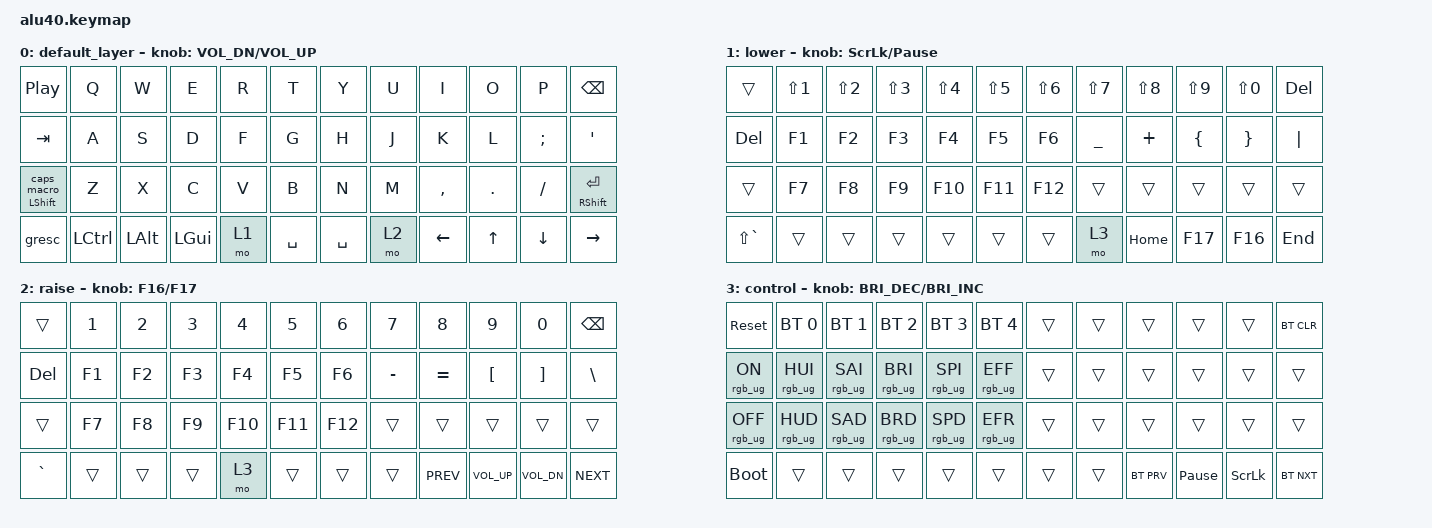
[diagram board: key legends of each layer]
/*
 * Copyright (c) 2022 The ZMK Contributors
 *
 * SPDX-License-Identifier: MIT
 */

#include <behaviors.dtsi>
#include <dt-bindings/zmk/keys.h>
#include <dt-bindings/zmk/bt.h>
#include <dt-bindings/zmk/rgb.h>

/ {

    caps_macro: caps_macro {
        compatible = "zmk,behavior-macro";
        label = "caps_macro";
        #binding-cells = <0>;
        wait-ms = <30>;
        tap-ms = <200>;
        bindings = <&kp CAPS>;
    };

    behaviors {
        sc: shift_caps {
            compatible = "zmk,behavior-hold-tap";
            label = "shift_caps";
            #binding-cells = <2>;
            tapping-term-ms = <200>;
            quick-tap-ms = <0>;
            flavor = "tap-preferred";
            bindings = <&kp>, <&caps_macro>;
        };
    };

    keymap {
        compatible = "zmk,keymap";

        default_layer {
            // -----------------------------------------------------------------------------------------
            // | PLAY  |  Q   |  W   |  E   |  R   |  T   |   Y   |  U    |  I   |  O   |   P   | BSPC  |
            // | TAB   |  A   |  S   |  D   |  F   |  G   |   H   |  J    |  K   |  L   |   ;   |  '    |
            // | SHIFT |  Z   |  X   |  C   |  V   |  B   |   N   |  M    |  ,   |  .   |   /   |RET/SFT|
            // | ESC/~ | LCTL | LALT | LGUI | LOWR |     SPACE    |  RAIS | LARW | UARW | DARW  |  RARW |

            bindings = <
                &kp C_PP    &kp Q      &kp W     &kp E     &kp R  &kp T      &kp Y      &kp U  &kp I      &kp O    &kp P     &kp BSPC
                &kp TAB     &kp A      &kp S     &kp D     &kp F  &kp G      &kp H      &kp J  &kp K      &kp L    &kp SEMI  &kp SQT
                &sc LSHFT 0 &kp Z      &kp X     &kp C     &kp V  &kp B      &kp N      &kp M  &kp COMMA  &kp DOT  &kp FSLH  &mt RSHFT RET
                &gresc      &kp LCTRL  &kp LALT  &kp LGUI  &mo 1  &kp SPACE  &kp SPACE  &mo 2  &kp LEFT   &kp UP   &kp DOWN  &kp RIGHT
            >;

            sensor-bindings = <&inc_dec_kp C_VOL_DN C_VOL_UP>;
        };

        lower {
            bindings = <
                &trans         &kp LS(N1)  &kp LS(N2)  &kp LS(N3)  &kp LS(N4)  &kp LS(N5)  &kp LS(N6)  &kp LS(N7)  &kp LS(N8)  &kp LS(N9)  &kp LS(N0)  &kp DEL
                &kp DEL        &kp F1      &kp F2      &kp F3      &kp F4      &kp F5      &kp F6      &kp UNDER   &kp PLUS    &kp LBRC    &kp RBRC    &kp PIPE
                &trans         &kp F7      &kp F8      &kp F9      &kp F10     &kp F11     &kp F12     &trans      &trans      &trans      &trans      &trans
                &kp LS(GRAVE)  &trans      &trans      &trans      &trans      &trans      &trans      &mo 3       &kp HOME    &kp F17     &kp F16     &kp END
            >;

            sensor-bindings = <&inc_dec_kp SLCK PAUSE_BREAK>;
        };

        raise {
            bindings = <
                &trans     &kp N1  &kp N2  &kp N3  &kp N4   &kp N5   &kp N6   &kp N7     &kp N8      &kp N9        &kp N0        &kp BSPC
                &kp DEL    &kp F1  &kp F2  &kp F3  &kp F4   &kp F5   &kp F6   &kp MINUS  &kp EQUAL   &kp LBKT      &kp RBKT      &kp BSLH
                &trans     &kp F7  &kp F8  &kp F9  &kp F10  &kp F11  &kp F12  &trans     &trans      &trans        &trans        &trans
                &kp GRAVE  &trans  &trans  &trans  &mo 3    &trans   &trans   &trans     &kp C_PREV  &kp C_VOL_UP  &kp C_VOL_DN  &kp C_NEXT
            >;

            sensor-bindings = <&inc_dec_kp F16 F17>;
        };

        control {
            bindings = <
                &sys_reset       &bt BT_SEL 0     &bt BT_SEL 1     &bt BT_SEL 2     &bt BT_SEL 3     &bt BT_SEL 4     &trans  &trans  &trans      &trans  &trans  &bt BT_CLR
                &rgb_ug RGB_ON   &rgb_ug RGB_HUI  &rgb_ug RGB_SAI  &rgb_ug RGB_BRI  &rgb_ug RGB_SPI  &rgb_ug RGB_EFF  &trans  &trans  &trans      &trans  &trans  &trans
                &rgb_ug RGB_OFF  &rgb_ug RGB_HUD  &rgb_ug RGB_SAD  &rgb_ug RGB_BRD  &rgb_ug RGB_SPD  &rgb_ug RGB_EFR  &trans  &trans  &trans      &trans  &trans  &trans
                &bootloader      &trans           &trans           &trans           &trans           &trans           &trans  &trans  &bt BT_PRV  &kp PAUSE_BREAK &kp SLCK &bt BT_NXT
            >;

            sensor-bindings = <&inc_dec_kp C_BRI_DEC C_BRI_INC>;
        };
    };
};
